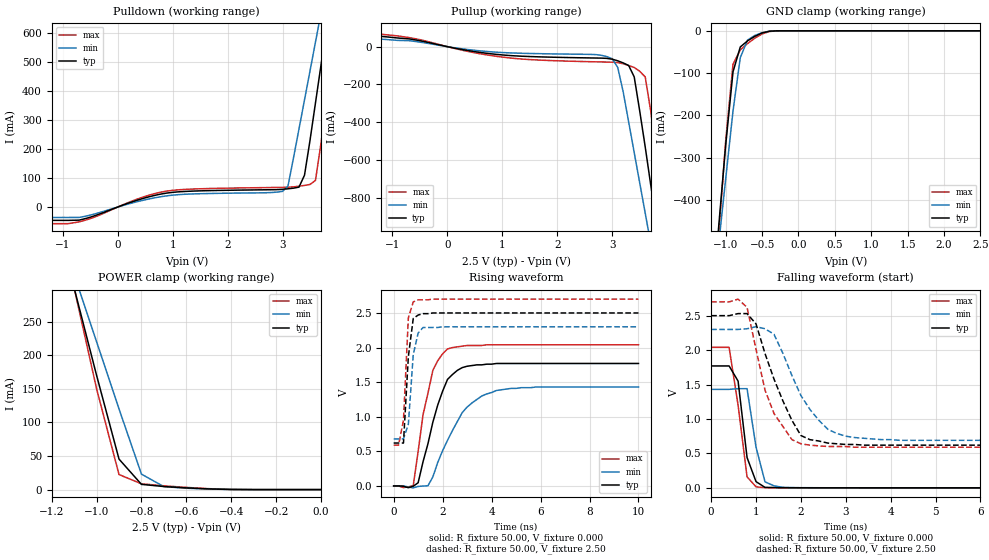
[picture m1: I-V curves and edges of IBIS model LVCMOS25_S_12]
| [Disclaimer]
| Copyright 2006, Xilinx Inc., All rights reserved
| [Copyright]
| From Pr6_Completo.ibs, Spartan-3E, Xilinx Inc.
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|   Model LVCMOS25_S_12
[Model]   LVCMOS25_S_12
Model_type   I/O
Polarity   Non-Inverting
Enable   Active-Low
Vinl =   0.70V
Vinh =   1.70V
Vmeas =   1.25V
Cref =  0.000F
Rref =  1MOhm
Vref =  0.000V
C_comp   1.50pF   1.30pF   1.70pF
[Temperature Range]   25.00   85.00   0.000
[Voltage Range]   2.50V   2.30V   2.70V
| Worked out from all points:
|   slope of the pulldown table from 0 to 0.375 V, typ, clamps not added: 15.1 ohm
|   slope of the pullup table from 0 to 0.375 V, typ, clamps not added: 18.1 ohm
|   GND clamp passes 1 mA (typ) near -0.40 V on its own axis
|   POWER clamp passes 1 mA (typ) near -0.50 V on its own axis
|   rising waveform, R_fixture 50.00, V_fixture 0.000: 20-80 % time 851ps typ, 1.26ns min, 614ps max; typ from 0 V to 1.77 V
|   rising waveform, R_fixture 50.00, V_fixture 2.50: 20-80 % time 232ps typ, 226ps min, 171ps max; typ from 0.62 V to 2.5 V
|   falling waveform, R_fixture 50.00, V_fixture 0.000: 20-80 % time 225ps typ, 251ps min, 255ps max; typ from 1.77 V to 0 V
|   falling waveform, R_fixture 50.00, V_fixture 2.50: 20-80 % time 670ps typ, 789ps min, 559ps max; typ from 2.5 V to 0.62 V
[Pulldown]
| voltage   I(typ)   I(min)   I(max)
-2.5V     -45.98mA   -35.9mA    -57.32mA
-900mV    -45.98mA   -35.9mA    -57.32mA
900mV     48.52mA    38.96mA    55.38mA
3V        61.37mA    54.24mA    68.01mA
3.1V      63.12mA    73.01mA    68.54mA
3.3V      68.84mA    270mA      72.06mA
3.4V      110mA      370mA      74.78mA
3.5V      230mA      470mA      78.11mA
3.6V      360mA      570mA      92.25mA
3.8V      620mA      770mA      370mA
4V        880mA      970mA      660mA
5V        2.18A      1.98A      2.14A
[Pullup]
| voltage   I(typ)   I(min)   I(max)
-2.5V     72mA       55mA       87mA
-900mV    45.71mA    33.1mA     56.74mA
1.1V      -46.15mA   -32.5mA    -58.58mA
2.8V      -60.59mA   -45.67mA   -80.85mA
3.1V      -74.77mA   -110mA     -84.17mA
3.2V      -85.87mA   -240mA     -90.52mA
3.4V      -160mA     -560mA     -110mA
3.6V      -530mA     -880mA     -160mA
3.7V      -730mA     -1.04A     -340mA
3.8V      -920mA     -1.2A      -580mA
4V        -1.31A     -1.52A     -1.04A
5V        -3.26A     -3.13A     -3.39A
[GND_clamp]
| voltage   I(typ)   I(min)   I(max)
-2.5V     -3.19A     -2.76A     -3.77A
-1.1V     -470mA     -510mA     -490mA
-1V       -270mA     -350mA     -260mA
-900mV    -97.22mA   -190mA     -79.28mA
-800mV    -38.27mA   -63.6mA    -44.92mA
-700mV    -23.77mA   -21.82mA   -30.15mA
-600mV    -13.05mA   -10.93mA   -17.48mA
-500mV    -5.01mA    -4.37mA    -7.42mA
-400mV    -940uA     -990uA     -1.6mA
-300mV    -78.43uA   -120uA     -130uA
2.5V      11.7nA     2.25uA     11.13nA
[POWER_clamp]
| voltage   I(typ)   I(min)   I(max)
-2.5V     2.1A       1.72A      2.35A
-1.1V     300mA      320mA      300mA
-1V       170mA      220mA      150mA
-900mV    45.39mA    120mA      22.39mA
-800mV    7.78mA     23.01mA    8.63mA
-700mV    4.56mA     4.41mA     5.65mA
-600mV    2.55mA     2.06mA     3.26mA
-400mV    200uA      200uA      300uA
0V        11.7nA     65.87nA    13.21nA
[Ramp]
dV/dt_r   1.06/0.80n   0.86/1.33n   1.22/0.56n
dV/dt_f   1.13/0.61n   0.97/0.78n   1.27/0.50n
R_load = 50.00
[Rising Waveform]
R_fixture = 50.00
V_fixture = 0.000
| time   V(typ)   V(min)   V(max)
0s        0V         0V         0V
800ps     -4.14mV    -27.72mV   5.08mV
1ns       46.62mV    -7.11mV    500mV
1.2ns     350mV      -1.57mV    1.03V
1.4ns     610mV      2.59mV     1.34V
1.6ns     920mV      130mV      1.67V
2.2ns     1.54V      660mV      1.98V
3ns       1.73V      1.14V      2.03V
4.2ns     1.77V      1.38V      2.04V
10ns      1.77V      1.43V      2.04V
[Rising Waveform]
R_fixture = 50.00
V_fixture = 2.50
V_fixture_min = 2.30
V_fixture_max = 2.70
| time   V(typ)   V(min)   V(max)
0s        620mV      680mV      590mV
200ps     620mV      680mV      590mV
400ps     620mV      680mV      950mV
600ps     1.87V      890mV      2.43V
800ps     2.42V      1.9V       2.66V
1ns       2.47V      2.21V      2.69V
1.2ns     2.49V      2.29V      2.69V
1.6ns     2.5V       2.29V      2.7V
2ns       2.5V       2.3V       2.7V
10ns      2.5V       2.3V       2.7V
[Falling Waveform]
R_fixture = 50.00
V_fixture = 0.000
| time   V(typ)   V(min)   V(max)
0s        1.77V      1.43V      2.04V
400ps     1.77V      1.43V      2.04V
600ps     1.55V      1.44V      1.2V
800ps     440mV      1.44V      160mV
1ns       90.24mV    590mV      15.1mV
1.2ns     6.64mV     87.43mV    2.58mV
1.4ns     3.92mV     29.03mV    2.66mV
1.6ns     2.4mV      7.15mV     1.89mV
10ns      21.58uV    6.88uV     -670nV
[Falling Waveform]
R_fixture = 50.00
V_fixture = 2.50
V_fixture_min = 2.30
V_fixture_max = 2.70
| time   V(typ)   V(min)   V(max)
0s        2.5V       2.3V       2.7V
600ps     2.53V      2.3V       2.74V
800ps     2.53V      2.31V      2.62V
1ns       2.38V      2.34V      2.01V
1.2ns     1.95V      2.31V      1.42V
1.4ns     1.58V      2.23V      1.08V
2ns       760mV      1.34V      640mV
2.6ns     650mV      850mV      600mV
3.2ns     630mV      730mV      590mV
10ns      620mV      680mV      590mV
